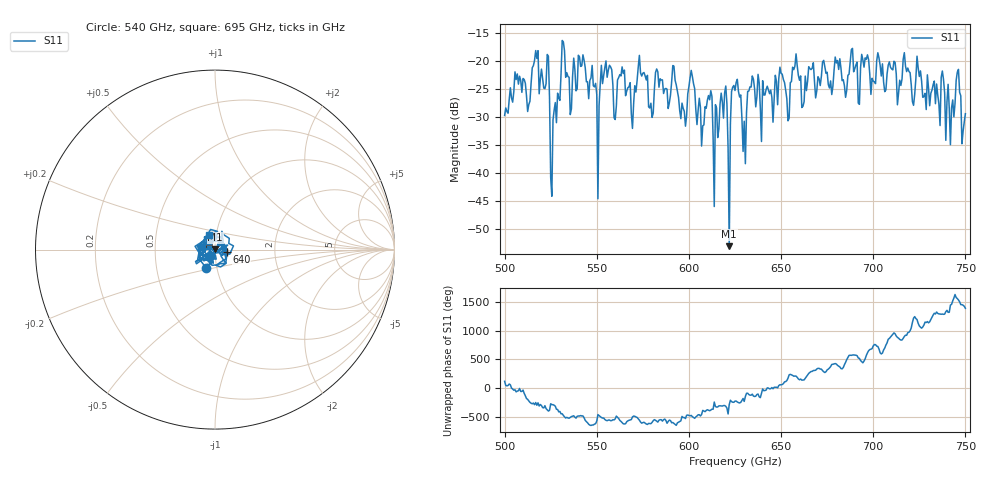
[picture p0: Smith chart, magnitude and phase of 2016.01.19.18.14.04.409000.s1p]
!Created with skrf (http://scikit-rf.org).
# GHz S RI R 50.0
!freq ReS11 ImS11
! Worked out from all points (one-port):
!   401 points, 500 GHz to 750 GHz, reference 50 ohm
!   lowest |S11| = -53.1 dB at 621.9 GHz (marker M1), VSWR 1.00, Z = 50 + j0.218 ohm
!   |S11| at or under -10 dB: start of sweep to end of sweep
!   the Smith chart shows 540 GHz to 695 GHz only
!   S11 on the Smith chart (normalised r, x): 540 GHz: 0.89, -0.18; 640 GHz: 1.14, -0.03; 695 GHz: 0.92, +0.15
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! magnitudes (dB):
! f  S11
! 500 GHz  -29.7
! 506.9 GHz  -22.3
! 513.1 GHz  -27.8
! 516.9 GHz  -18.1
! 523.1 GHz  -18.8
! 526.2 GHz  -30.6
! 531.2 GHz  -16.3
! 540 GHz  -19.0
! 550 GHz  -26.0
! 553.8 GHz  -22.5
! 560 GHz  -30.5
! 562.5 GHz  -22.4
! 593.8 GHz  -25.4
! 611.2 GHz  -26.9
! 614.4 GHz  -27.8
! 618.8 GHz  -30.2
! 621.9 GHz  -53.1
! 625 GHz  -25.3
! 630 GHz  -30.8
! 633.8 GHz  -24.6
! 640 GHz  -23.5
! 656.2 GHz  -21.1
! 687.5 GHz  -20.1
! 695 GHz  -21.1
! 718.8 GHz  -21.2
! 740.6 GHz  -24.2
! 746.2 GHz  -21.5
! 750 GHz  -29.4
